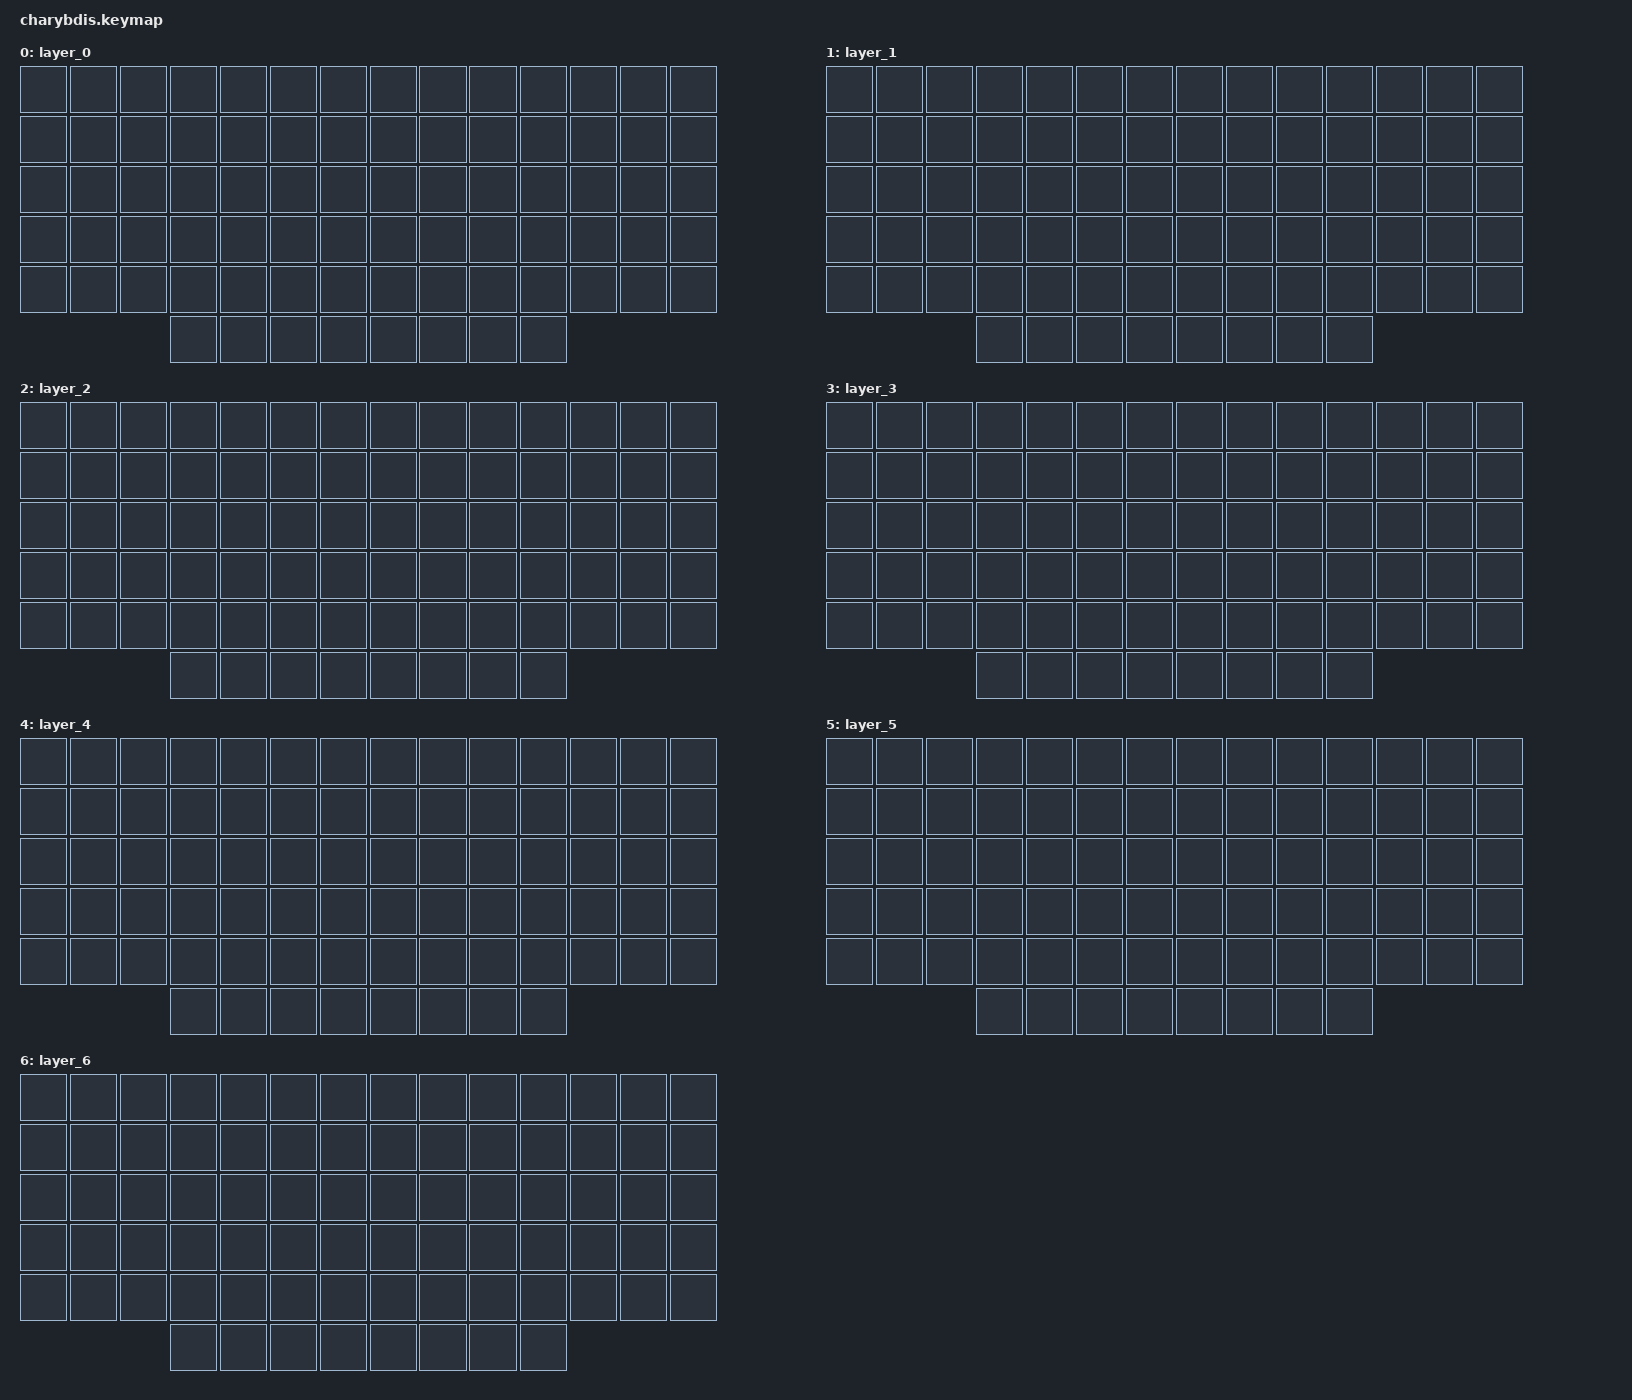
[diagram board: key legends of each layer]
#include <dt-bindings/zmk/mouse.h>
#include <behaviors.dtsi>
#include <dt-bindings/zmk/backlight.h>
#include <dt-bindings/zmk/bt.h>
#include <dt-bindings/zmk/keys.h>
#include <dt-bindings/zmk/pointing.h>
#include <dt-bindings/zmk/rgb.h>

&lt {
    tapping-term-ms = <200>;
    flavor = "balanced";
    quick-tap-ms = <150>;
};

/ {
    combos {
        compatible = "zmk,combos";

        escc {
            bindings = <&kp ESC>;
            key-positions = <17 18>;
            layers = <0>;
        };
    };

    macros {
        pwd_macro: pwd_macro {
            compatible = "zmk,behavior-macro";
            #binding-cells = <0>;
            bindings =
                <&kp EXCL &kp LS(A) &kp N &kp A &kp L &kp T &kp H &kp N0 &kp N9 &kp N2 &kp N6 &kp N3 &kp N7>,
                <&macro_press>;

            label = "PWD_MACRO";
        };
    };

    keymap {
        compatible = "zmk,keymap";

        layer_0 {
            bindings = <
&none         &none             &none  &none          &none   &none  &none      &none  &none   &none     &none                 &none  &none  &none
&none    &none            &none      &none             &none            &none      &none           &none      &none          &none         &none                      &none         &none      &none
&none  &none                 &none          &none                     &none            &none      &none           &none        &none          &none         &none                      &none         &none      &none
&none       &none                 &none          &none                     &none            &none      &none           &none          &none          &none         &none                      &none         &none      &none
&none         &none  &none         &none            &none  &none  &none           &none      &none  &none  &none             &none   &none      &none
                                                   &none  &none     &none      &none    &none   &none   &none  &none
            >;
        };

        layer_1 {
            bindings = <
&none        &none  &none   &none   &none  &none       &none     &none   &none      &none  &none  &none   &none  &none
&none        &none        &none  &none           &none        &none       &none     &none              &none  &none             &none              &none  &none           &none
&none        &none        &none  &none           &none        &none       &none     &none  &none  &none             &none              &none  &none           &none
&none  &none        &none  &none           &none        &none       &none     &none           &none  &none             &none              &none  &none           &none
&none        &none            &none      &none  &none    &none  &none    &none      &none     &none      &none     &none      &none               &none
                                         &none              &none      &none          &none    &none              &none      &none                 &none
            >;
        };

        layer_2 {
            bindings = <
&none             &none         &none         &none         &none         &none         &none    &none     &none     &none         &none         &none         &none         &none
&none    &none         &none         &none         &none         &none         &none    &none          &none          &none         &none         &none         &none         &none
&none             &none  &none  &none  &none  &none  &none    &none          &none   &none  &none  &none  &none  &none
&none             &none         &none         &none         &none         &none         &none    &none          &none    &none      &none       &none         &none         &none
&none  &none         &none         &none         &none         &none         &none              &none  &none  &none         &none         &none         &none         &none
                                              &none         &none         &none         &none              &none          &none  &none         &none
            >;
        };

        layer_3 {
            bindings = <
&none  &none  &none        &none   &none         &none     &none    &none  &none     &none  &none  &none  &none      &none
&none  &none  &none  &none    &none  &none     &none         &none      &none          &none       &none     &none   &none       &none
&none  &none  &none       &none    &none        &none     &none         &none      &none          &none     &none     &none  &none      &none
&none  &none  &none        &none  &none         &none     &none         &none     &none    &none    &none     &none  &none  &none
&none  &none  &none         &none  &none      &none  &none      &none    &none  &none       &none      &none  &none      &none
                              &none     &none          &none      &none         &none    &none         &none      &none
            >;
        };

        layer_4 {
            bindings = <
&none  &none  &none  &none  &none  &none  &none    &none  &none  &none  &none  &none  &none  &none
&none  &none  &none  &none  &none  &none  &none    &none  &none  &none  &none  &none  &none  &none
&none  &none  &none  &none  &none  &none  &none    &none  &none  &none  &none  &none  &none  &none
&none  &none  &none  &none  &none  &none  &none    &none  &none  &none  &none  &none  &none  &none
&none  &none  &none  &none  &none  &none  &none    &none  &none  &none  &none  &none  &none  &none
                        &none  &none  &none  &none    &none  &none  &none  &none
            >;
        };

        layer_5 {
            bindings = <
&none    &none        &none  &none        &none                &none      &none    &none            &none            &none                &none                 &none         &none              &none
&none       &none        &none  &none  &none       &none    &none    &none            &none            &none                &none              &none  &none  &none
&none       &none  &none   &none         &none  &none  &none    &none  &none         &none  &none  &none                    &none                  &none
&none  &none         &none   &none         &none                 &none       &none    &none  &none  &none      &none       &none          &none           &none
&none        &none         &none   &none   &none          &none       &none    &none      &none  &none      &none       &none          &none                     &none
                                     &none         &none                 &none       &none    &none            &none            &none                &none
            >;
        };

        layer_6 {
            bindings = <
&none  &none        &none        &none        &none        &none        &none    &none  &none         &none        &none        &none        &none        &none
&none  &none        &none        &none        &none        &none        &none    &none             &none         &none        &none        &none        &none        &none
&none  &none  &none  &none  &none  &none  &none    &none             &none   &none  &none  &none  &none  &none
&none  &none        &none        &none        &none        &none        &none    &none             &none    &none      &none       &none        &none        &none
&none  &none        &none        &none        &none        &none        &none    &none             &none  &none        &none        &none        &none        &none
                                    &none        &none        &none        &none    &none             &none         &none        &none
            >;
        };

        /*  layer_3 {
            bindings = <
&none  &none  &none  &none  &none  &none  &none    &none  &none  &none   &kp FSLH  &kp ASTERISK  &none  &none
&none  &none  &none  &none  &none  &none  &none    &none  &none  &kp N7  &kp N8    &kp N9        &none  &none
&none  &none  &none  &none  &none  &none  &none    &none  &none  &kp N4  &kp N5    &kp N6        &none  &none
&none  &none  &none  &none  &none  &none  &to 0    &to 3  &none  &kp N1  &kp N2    &kp N3        &none  &none
&none  &none  &none  &none  &none  &none  &to 1    &none  &none  &none   &kp N0    &none         &none  &none
                                   &none  &to 2    &none  &none
            >;
        };

        layer_2 {
            bindings = <
&none  &none   &none    &none   &none         &none         &kp N1         &none         &none     &none  &none   &to 0
&none  &none   &none    &none   &none         &none         &none         &none          &rgb_ug RGB_BRD &rgb_ug RGB_BRI  &rgb_ug RGB_EFF   &rgb_ug RGB_TOG
&none  &none   &none    &none   &none         &none         &none         &mkp LCLK     &mkp RCLK  &none  &none   &none
&none  &none   &none    &none   &bt BT_NXT  &bt BT_CLR    &none         &none         &none     &none  &none   &none
                                   &none         &none         &none         &none         &none
                                                 &none         &none         &none
            >;
          trackball-bindings = <&tsl>;
            
        };

       Mouse {
            bindings = <
&none        &none         &none         &none         &none      &none         &none       &none      &none         &none         &none         &none
&none        &bt BT_SEL 0  &bt BT_SEL 1  &bt BT_SEL 3  &none      &bt BT_CLR    &bt BT_CLR  &none      &bt BT_SEL 2  &bt BT_SEL 1  &bt BT_SEL 0  &none
&none        &trans        &trans        &mkp MCLK     &trans     &none         &none       &trans     &mkp MCLK     &trans        &trans        &none
&bootloader  &trans        &mkp RCLK     &mo 4         &mkp LCLK  &mo 5         &mo 5       &mkp LCLK  &mo 4         &mkp RCLK     &trans        &bootloader
                                         &mo 5         &mkp LCLK  &mkp RCLK     &mkp RCLK   &mkp LCLK
                                                       &none      &trans        &trans
            >;

            
        };

        layer_4 {
            bindings = <
&trans  &trans  &trans     &trans     &trans     &trans       &trans     &trans     &trans     &trans     &trans  &trans
&trans  &trans  &trans     &trans     &trans     &trans       &trans     &trans     &trans     &trans     &trans  &trans
&trans  &trans  &trans     &mkp MCLK  &trans     &trans       &trans     &trans     &mkp MCLK  &trans     &trans  &trans
&trans  &trans  &mkp RCLK  &trans     &mkp LCLK  &trans       &trans     &mkp LCLK  &trans     &mkp RCLK  &trans  &trans
                           &trans     &mkp LCLK  &mkp RCLK    &mkp RCLK  &mkp LCLK
                                      &trans     &trans       &trans
            >;
                
                
                trackball-bindings = <&tsl>;
        };

        layer_5 {
            bindings = <
&trans  &trans  &trans     &trans     &trans     &trans       &trans     &trans     &trans     &trans     &trans  &trans
&trans  &trans  &trans     &trans     &trans     &trans       &trans     &trans     &trans     &trans     &trans  &trans
&trans  &trans  &trans     &mkp MCLK  &trans     &trans       &trans     &trans     &mkp MCLK  &trans     &trans  &trans
&trans  &trans  &mkp RCLK  &trans     &mkp LCLK  &trans       &trans     &mkp LCLK  &trans     &mkp RCLK  &trans  &trans
                           &trans     &mkp LCLK  &mkp RCLK    &mkp RCLK  &mkp LCLK
                                      &trans     &trans       &trans
            >;
                trackball-bindings = <&tmv_fine>;
                
        };*/
    };
};
